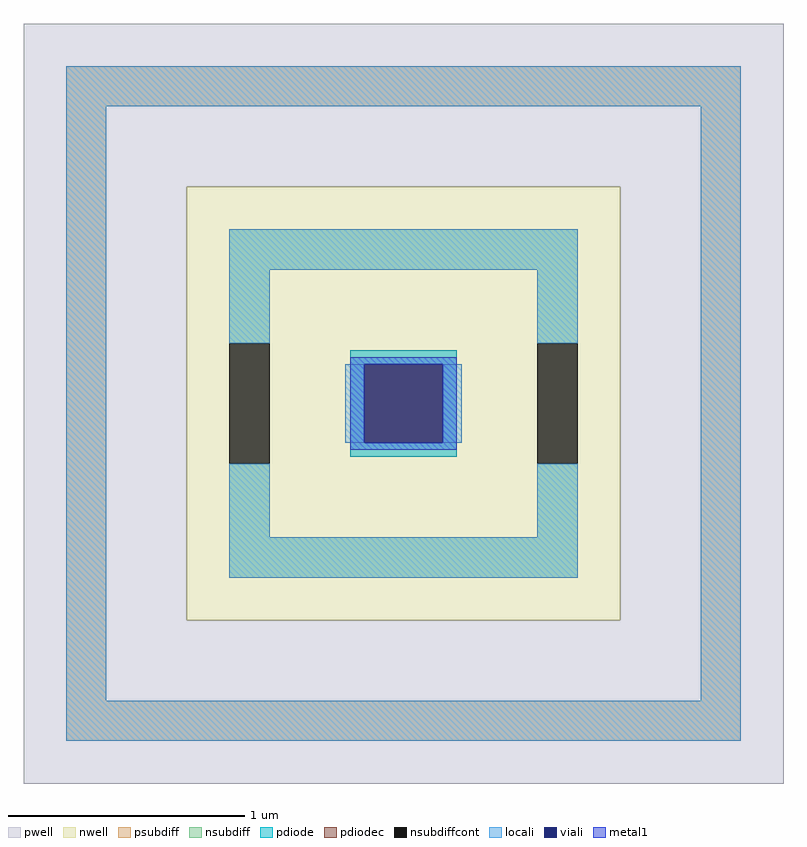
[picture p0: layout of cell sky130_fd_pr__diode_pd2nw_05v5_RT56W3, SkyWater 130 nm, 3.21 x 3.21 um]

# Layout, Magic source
magic
tech sky130A
magscale 1 2
<< nwell >>
rect -183 -183 183 183
<< pwell >>
rect -321 183 321 321
rect -321 -183 -183 183
rect 183 -183 321 183
rect -321 -321 321 -183
<< psubdiff >>
rect -285 251 285 285
rect -285 -251 -251 251
rect 251 -251 285 251
rect -285 -285 285 -251
<< nsubdiff >>
rect -147 113 147 147
rect -147 51 -113 113
rect 113 51 147 113
rect -147 -113 -113 -51
rect 113 -113 147 -51
rect -147 -147 147 -113
<< nsubdiffcont >>
rect -147 -51 -113 51
rect 113 -51 147 51
<< pdiode >>
rect -45 33 45 45
rect -45 -33 -33 33
rect 33 -33 45 33
rect -45 -45 45 -33
<< pdiodec >>
rect -33 -33 33 33
<< locali >>
rect -285 251 285 285
rect -285 -251 -251 251
rect -147 113 147 147
rect -147 51 -113 113
rect 113 51 147 113
rect -49 -33 -33 33
rect 33 -33 49 33
rect -147 -113 -113 -51
rect 113 -113 147 -51
rect -147 -147 147 -113
rect 251 -251 285 251
rect -285 -285 285 -251
<< viali >>
rect -33 -33 33 33
<< metal1 >>
rect -45 33 45 39
rect -45 -33 -33 33
rect 33 -33 45 33
rect -45 -39 45 -33
<< properties >>
string FIXED_BBOX -130 -130 130 130
string gencell sky130_fd_pr__diode_pd2nw_05v5
string library sky130
string parameters w 0.45 l 0.45 area 202.5m peri 1.8 nx 1 ny 1 dummy 0 lmin 0.45 wmin 0.45 elc 1 erc 1 etc 0 ebc 0 glc 0 grc 0 gtc 0 gbc 0 doverlap 0 compatible {sky130_fd_pr__diode_pd2nw_05v5 sky130_fd_pr__diode_pd2nw_05v5_lvt  sky130_fd_pr__diode_pd2nw_05v5_hvt sky130_fd_pr__diode_pd2nw_11v0} full_metal 1 vias 1 viagb 0 viagt 0 viagl 0 viagr 0
<< end >>
